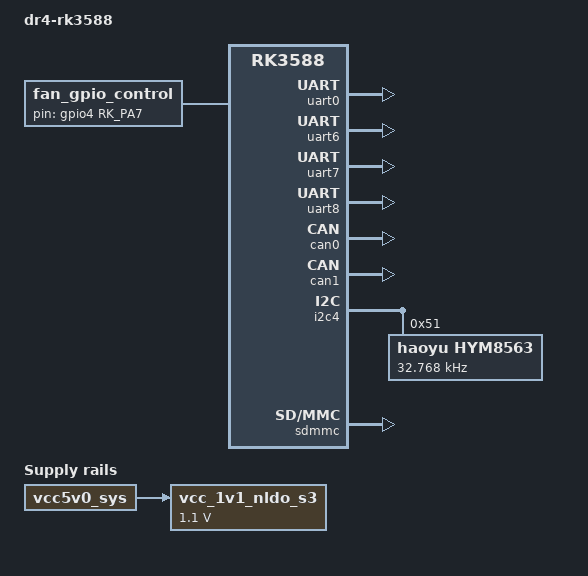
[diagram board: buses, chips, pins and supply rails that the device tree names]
/* board base */
//#include "../rk3588-evb4-lp4-v10-linux.dts"
#include "rp-rk3588-board.dtsi"

#include "rp-tp-i2c6-gt911.dtsi"
#include "rd-rk3588-lcd-gpio.dtsi"

#include "rpdzkj_config.dtsi"

/* usb */
#include "rp-usb-typec-rk3588.dtsi"
#include "rp-usb-host.dtsi"

/* ethernet */
#include "rp-eth-pcie2gmac-rk3588.dtsi"
#include "rp-eth-gmac1.dtsi"

/* pcie */
#include "rp-pcie-power-rk3588.dtsi"
#include "rp-pcie3.dtsi" //need comment when use board of  make it youself,and remove the pcie function
#include "rp-pcie-5g.dtsi"

/* audio */
#include "rp-audio-rt5640.dtsi"

/* wifi/bt */
#include "rp-wifi-bt-ap6275p-rk3588.dtsi"

/* hdmi rx */
#include "rp-hdmirx.dtsi"

/* camera */
/***********all camera config********/

//#include "rp-camera-dcphy0.dtsi"
#include "rp-camera-dcphy1.dtsi"
#include "rp-camera-dphy0.dtsi"
#include "rp-camera-dphy1.dtsi"

//#include "rp-camera-dcphy0-ov13855.dtsi"
//#include "rp-camera-dcphy1-ov13855.dtsi"
//#include "rp-camera-dphy0-ov13855.dtsi"
//#include "rp-camera-dphy1-ov13855.dtsi"

//#include "rp-camera-dcphy0-gc8034.dtsi"
//#include "rp-camera-dcphy1-gc8034.dtsi"
//#include "rp-camera-dphy0-gc8034.dtsi"
//#include "rp-camera-dphy1-gc8034.dtsi"

//#include "rp-camera-dcphy0-imx415.dtsi"
//#include "rp-camera-dcphy1-imx415.dtsi"
//#include "rp-camera-dphy0-imx415.dtsi"
//#include "rp-camera-dphy1-imx415.dtsi"

/**********4 channel must be disabled hdmi in*********/
//#include "rp-camera-dcphy1-gc8034.dtsi"
//#include "rp-camera-dphy1-gc8034.dtsi"
//#include "rp-camera-dcphy0-imx415.dtsi"
//#include "rp-camera-dphy0-imx415.dtsi"
/******************************************/

//#include "rp-lcd-hdmi0.dtsi"        //batch ignore
//#include "rp-lcd-hdmi1.dtsi"        //batch ignore
//#include "rp-lcd-typec-dp0.dtsi"    //usb edp0, must be enable rp-usb-typec.dtsi, batch ignore 
#include "rp-lcd-multi-hdmi0-hdmi1-dp0.dtsi"

/* lcd */
#include "rp-lcd-mipi0-5-720-1280-v2-boxTP.dtsi"
//#include "rp-lcd-mipi0-7-720-1280.dtsi"
//#include "rp-lcd-mipi0-8-800-1280-v3.dtsi"
//#include "rp-lcd-mipi0-8-1200-1920.dtsi"
//#include "rp-lcd-mipi0-10-800-1280-v3.dtsi"
//#include "rp-lcd-mipi0-10-1200-1920.dtsi"
//#include "rp-lcd-mipi0-10-1920-1200-jc.dtsi"
//#include "rp-lcd-edp0-13.3-15.6-1920-1080.dtsi"
//#include "rp-lcd-edp1-13.3-15.6-1920-1080.dtsi"
//#include "rp-lcd-mipi1-gm8775-lvds-21-1920-1080.dtsi"
//#include "rp-lcd-mipi1-gm8775-lvds-10.1-1024-600.dtsi"

/* mulit lcd */
//#include "rp-multi-lcd-edp0-13.3-edp1-13.3-dp0.dtsi"
//#include "rp-multi-lcd-edp0-13.3-edp1-15.6-dp0.dtsi"

/* quadplex lcd */
//#include "rp-lcd-quadplex-mipi0-5-720-1280-v2-boxTP-mipi1-gm8775-lvds-10.1-1024-600-edp0-edp1.dtsi"
//#include "rp-lcd-quadplex-mipi0-5-720-1280-v2-boxTP-mipi1-gm8775-lvds-10.1-1024-600-edp0-hdmi1.dtsi"
//#include "rp-lcd-quadplex-mipi0-5-720-1280-v2-boxTP-mipi1-gm8775-lvds-10.1-1024-600-hdmi0-edp1.dtsi"
//#include "rp-lcd-quadplex-mipi0-5-720-1280-v2-boxTP-mipi1-gm8775-lvds-10.1-1024-600-hdmi0-hdmi1.dtsi"
/ {
    model = "dr4-rk3588";

    reserved-memory {
        #address-cells = <2>;
        #size-cells = <2>;
        ranges;
        dma_trans: dma-trans@3c000000 {
            reg = <0x0 0x3c000000 0x0 0x04000000>;
        };
    };

    vcc_1v1_nldo_s3: vcc-1v1-nldo-s3 {
        compatible = "regulator-fixed";
        regulator-name = "vcc_1v1_nldo_s3";
        regulator-always-on;
        regulator-boot-on;
        regulator-min-microvolt = <1100000>;
        regulator-max-microvolt = <1100000>;
        vin-supply = <&vcc5v0_sys>;
    };

	fan_gpio_control {
            compatible = "fan_gpio_control";
            gpio-pin = <&gpio4 RK_PA7 GPIO_ACTIVE_HIGH>;
            thermal-zone = "soc-thermal";
            threshold-temp = <60000>; //60C
            running-time = <10000>; //10s
            status = "okay";
        };

        rp_power{
                status = "okay";
                compatible = "rp_power";
                rp_not_deep_sleep = <1>;

//#define GPIO_FUNCTION_OUTPUT 0
//#define GPIO_FUNCTION_INPUT 1
//#define GPIO_FUNCTION_IRQ 2
//#define GPIO_FUNCTION_FLASH 3
//#define GPIO_FUNCTION_OUTPUT_CTRL 4

                //fan {
                //        gpio_num = <&gpio4 RK_PA7 GPIO_ACTIVE_HIGH>;
                //        gpio_function = <4>;
                //};

                led {
                        gpio_num = <&gpio4 RK_PA6 GPIO_ACTIVE_HIGH>;
                        gpio_function = <3>;
                };

                usb-host-power {
                        gpio_num = <&gpio2 RK_PC1 GPIO_ACTIVE_HIGH>;
                        gpio_function = <4>;
                };

                usb-hub-reset {
                        gpio_num = <&gpio3 RK_PB2 GPIO_ACTIVE_HIGH>;
                        gpio_function = <4>;
                };
    };

        rp_gpio{
                status = "okay";
                compatible = "rp_gpio";

                gpio3c7 {
                        gpio_num = <&gpio3 RK_PC7 GPIO_ACTIVE_HIGH>;
                        gpio_function = <0>;
                };
        };
};


&uart0 {
    status = "okay";
    pinctrl-names = "default";
    pinctrl-0 = <&uart0m0_xfer>;
};

&uart6 {
    status = "okay";
    pinctrl-names = "default";
    pinctrl-0 = <&uart6m0_xfer>;
};

&uart7 {
    status = "okay";
    pinctrl-names = "default";
    pinctrl-0 = <&uart7m1_xfer>;
};

&uart8 {
    status = "okay";
    pinctrl-names = "default";
    pinctrl-0 = <&uart8m0_xfer>;
};

&can0 {
    assigned-clocks = <&cru CLK_CAN0>;
    assigned-clock-rates = <200000000>;
    status = "okay";
    pinctrl-names = "default";
    pinctrl-0 = <&can0m0_pins>;
};

&can1 {
    assigned-clocks = <&cru CLK_CAN1>;
    assigned-clock-rates = <200000000>;
    status = "okay";
    pinctrl-names = "default";
    pinctrl-0 = <&can1m1_pins>;
};

&i2c4 {
    status = "okay";
    pinctrl-names = "default";
    pinctrl-0 = <&i2c4m1_xfer>;

    hym8563: hym8563@51 {
        compatible = "haoyu,hym8563";
        reg = <0x51>;
        #clock-cells = <0>;
        clock-frequency = <32768>;
        clock-output-names = "hym8563";
        //pinctrl-names = "default";
        //pinctrl-0 = <&hym8563_int>;
        //interrupt-parent = <&gpio0>;
        //interrupts = <RK_PD4 IRQ_TYPE_LEVEL_LOW>;
        //wakeup-source;
    };

};


&sdmmc {
    status = "okay";
};

&fiq_debugger {
    rockchip,baudrate = <115200>;
};

&display_subsystem {
clocks = <&hdptxphy_hdmi_clk0>, <&hdptxphy_hdmi_clk1>;
clock-names = "hdmi0_phy_pll", "hdmi1_phy_pll";
};

&hdptxphy_hdmi_clk0 {
            status = "okay";
};

&hdptxphy_hdmi_clk1 {
            status = "okay";
};
